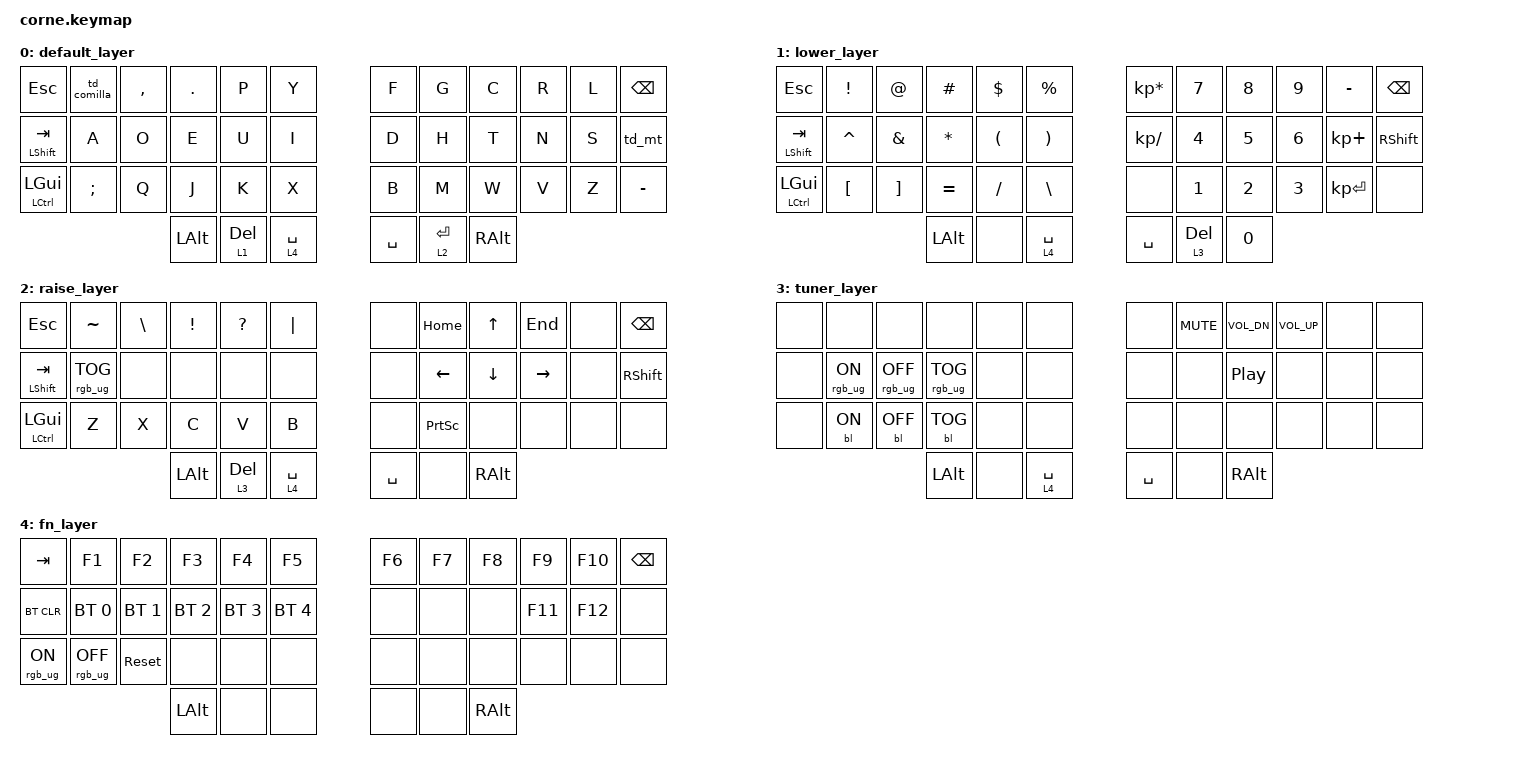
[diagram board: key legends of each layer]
/*
 * Copyright (c) 2020 The ZMK Contributors
 *
 * SPDX-License-Identifier: MIT
 */

 #include <behaviors.dtsi>
 #include <dt-bindings/zmk/keys.h>
 #include <dt-bindings/zmk/bt.h>
 #include <dt-bindings/zmk/rgb.h>
 #include <dt-bindings/zmk/backlight.h>
 
 #define MO_TOG(layer) &mo_tog layer layer   // Macro to apply momentary-layer-on-hold/toggle-layer-on-tap to a specific layer
 
 / {
     behaviors {
         pht: positional_hold_tap {
             compatible = "zmk,behavior-hold-tap";
             #binding-cells = <2>;
             flavor = "hold-preferred";
             tapping-term-ms = <100>;
             quick-tap-ms = <50>;
             bindings = <&kp>, <&kp>;
             hold-trigger-key-positions = <1>;    // <---[[the W key]]
         };
         bhm: balanced_homerow_mods {
             compatible = "zmk,behavior-hold-tap";
             #binding-cells = <2>;
             tapping-term-ms = <100>;    // <---[[moderate duration]]
             quick-tap-ms = <0>;
             flavor = "balanced";
             bindings = <&kp>, <&kp>;
         };
         mo_tog: behavior_mo_tog {
             compatible = "zmk,behavior-hold-tap";
             #binding-cells = <2>;
             flavor = "hold-preferred";
             tapping-term-ms = <100>;
             bindings = <&mo>, <&tog>;
         };
         lt {
             tapping-term-ms = <100>;
         };
         td_mt: tap_dance_mod_tap {
            compatible = "zmk,behavior-tap-dance";
            #binding-cells = <0>;
            tapping-term-ms = <200>;
            bindings = <&kp RIGHT_SHIFT>, <&kp CAPSLOCK>;
        };
        td_comilla: tap_dance_mod_comilla {
            compatible = "zmk,behavior-tap-dance";
            #binding-cells = <0>;
            tapping-term-ms = <200>;
            bindings = <&kp SQT>, <&kp GRAVE>;
        };
     };
         keymap {
                 compatible = "zmk,keymap";
 
                 default_layer {
 // -----------------------------------------------------------------------------------------
 // |  ESC |  Q  |  W  |  E  |  R  |  T  |   |  Y  |  U   |  I  |  O  |  P  | BSPC |
 // | LEFT SHIFT & TAB |  A  |  O  |  E  |  U  |  I  |   |  D  |   H  |  T  |  N  |  S  |  '   |
 // | SHFT |  Z  |  X  |  C  |  V  |  B  |   |  N  |  M   |  ,  |  .  |  /  | ESC  |
 //                    | GUI | LWR | SPC |   | ENT | RSE  | ALT |
                         bindings = <
    &kp ESC   &td_comilla &kp COMMA &kp DOT &kp P &kp Y   &kp F &kp G  &kp C     &kp R   &kp L    &kp BSPC
    &pht LEFT_SHIFT TAB &kp A &kp O &kp E &kp U &kp I   &kp D &kp H  &kp T     &kp N   &kp S &td_mt
    &bhm LCTRL LGUI &kp SEMICOLON &kp Q &kp J &kp K &kp X   &kp B &kp M  &kp W &kp V &kp Z &kp MINUS
                   &kp LALT &lt 1 DEL  &lt 4 SPACE   &kp SPACE &lt 2 ENTER    &kp RALT
                         >;
                 };
//CAPA MO 1
                lower_layer {
 // -----------------------------------------------------------------------------------------
 // |  TAB |  !  |  @  |  #  |  $  |  %  |   |  *  |  7  |  8  |  9  |  0  | BSPC |
 // | BTCLR| BT1 | BT2 | BT3 | BT4 | BT5 |   | LFT | DWN |  UP | RGT |     |      |
 // | SHFT |     |     |     |     |     |   |     |     |     |     |     |      |
 //                    | GUI |     | SPC |   | ENT |     | ALT |
                 bindings = <
 &kp ESC    &kp EXCL       &kp AT_SIGN       &kp HASH       &kp DOLLAR       &kp PERCENT         &kp KP_MULTIPLY   &kp N7   &kp N8 &kp N9    &kp MINUS &kp BSPC
 &pht LEFT_SHIFT TAB  &kp CARET  &kp AMPS  &kp ASTRK  &kp LPAR   &kp RPAR  &kp KP_DIVIDE  &kp N4  &kp N5  &kp N6  &kp KP_PLUS  &kp RIGHT_SHIFT
 &bhm LCTRL LGUI  &kp LBKT  &kp RBKT  &kp EQUAL  &kp SLASH  &kp BSLH  &none  &kp N1  &kp N2  &kp N3  &kp KP_ENTER  &none
                                         &kp LALT  &none  &lt 4 SPACE  &kp SPACE  &lt 3 DEL  &kp N0
                 >;
         };
         //CAPA MO2
                raise_layer {
                         bindings = <
&kp ESC &kp TILDE &kp BSLH &kp EXCLAMATION &kp QUESTION &kp PIPE  &none &kp HOME  &kp UP &kp END &none &kp BSPC
&pht LEFT_SHIFT TAB &rgb_ug RGB_TOG   &none &none   &none   &none   &none &kp LEFT &kp DOWN  &kp RIGHT &none &kp RIGHT_SHIFT
&bhm LCTRL LGUI   &kp Z &kp X   &kp C   &kp V  &kp B &none  &kp PSCRN  &none   &none    &none     &none
&kp LALT &lt 3 DEL   &lt 4 SPACE   &kp SPACE   &none    &kp RALT
                         >;
                 };
            // CAPA MO3
                 tuner_layer {
                         bindings = <
&none &none  &none  &none  &none  &none            &none  &kp C_MUTE  &kp C_VOL_DN  &kp C_VOL_UP  &none  &none
&none &rgb_ug RGB_ON  &rgb_ug RGB_OFF  &rgb_ug RGB_TOG  &none  &none            &none  &none  &kp C_PLAY_PAUSE  &none  &none  &none
&none &bl BL_ON  &bl BL_OFF  &bl BL_TOG  &none  &none            &none  &none  &none  &none  &none  &none
&kp LALT &none &lt 4 SPACE                              &kp SPACE &none  &kp RALT
                         >;
                 };
        //CAPA MO4
                 fn_layer {
 // -----------------------------------------------------------------------------------------
 // |  TAB |  F1  |  F2  |  F3  |  4  |  5  |   |  6  |  7  |  8  |  9  |  0  | BSPC |
 // | BTCLR| BT1 | BT2 | BT3 | BT4 | BT5 |   | LFT | DWN |  UP | RGT |     |      |
 // | SHFT |     |     |     |     |     |   |     |     |     |     |     |      |
 //                    | GUI |     | SPC |   | ENT |     | ALT |
                         bindings = <
    &kp TAB    &kp F1       &kp F2       &kp F3       &kp F4       &kp F5         &kp F6   &kp F7   &kp F8 &kp F9    &kp F10 &kp BSPC
    &bt BT_CLR &bt BT_SEL 0 &bt BT_SEL 1 &bt BT_SEL 2 &bt BT_SEL 3 &bt BT_SEL 4   &none &none &none &kp F11 &kp F12 &none
    &rgb_ug RGB_ON  &rgb_ug RGB_OFF       &sys_reset       &none       &none       &none         &none   &none   &none &none    &none &none
                                     &kp LALT     &none       &none      &none  &none   &kp RALT
                         >;
                 };
         };
 };
